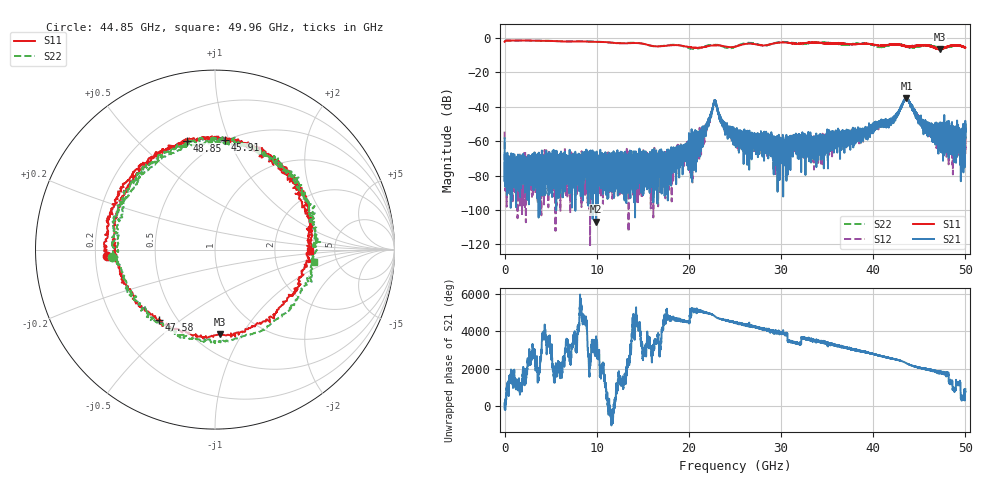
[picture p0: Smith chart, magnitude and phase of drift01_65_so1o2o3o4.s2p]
!Created with skrf (http://scikit-rf.org).
# Hz S RI R 50.0
!freq ReS11 ImS11 ReS21 ImS21 ReS12 ImS12 ReS22 ImS22
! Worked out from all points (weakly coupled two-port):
!   10001 points, 300 kHz to 50 GHz, reference 50 ohm
!   highest |S21| = -34.80 dB at 43.61 GHz (marker M1); lowest = -106.8 dB at 9.92 GHz (marker M2)
!   lowest |S11| = -6.5 dB at 47.28 GHz (marker M3), VSWR 2.79, Z = 33.4 - j40.4 ohm
!   |S11| at or under -10 dB: nowhere
!   |S22| runs from -6.4 to -1.4 dB; largest |S21 - S12| = 0.0045
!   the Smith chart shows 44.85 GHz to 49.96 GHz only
!   S11 on the Smith chart (normalised r, x): 44.85 GHz: 0.25, -0.03; 45.91 GHz: 0.50, +0.97; 47.58 GHz: 0.40, -0.42; 48.85 GHz: 0.36, +0.71; 49.96 GHz: 3.27, -0.07
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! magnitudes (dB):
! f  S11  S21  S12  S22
! 300 kHz  -2.1  -58.3  -54.4  -2.1
! 290.3 MHz  -1.4  -71.6  -80.5  -1.4
! 8.335 GHz  -1.9  -77.9  -72.0  -1.8
! 9.92 GHz  -2.1  -106.8  -75.6  -2.0
! 16.67 GHz  -4.8  -81.0  -83.9  -4.8
! 17.47 GHz  -4.5  -73.4  -68.4  -4.3
! 20.76 GHz  -5.6  -59.7  -59.2  -6.2
! 21.68 GHz  -5.1  -52.0  -60.8  -5.0
! 22.8 GHz  -4.3  -36.5  -36.3  -4.1
! 23.69 GHz  -4.6  -50.4  -50.8  -4.8
! 25 GHz  -5.0  -59.3  -55.6  -5.0
! 29.39 GHz  -2.9  -62.8  -75.7  -2.8
! 33.34 GHz  -2.6  -59.4  -60.4  -2.6
! 41.67 GHz  -3.9  -49.9  -49.8  -3.9
! 43.61 GHz  -4.4  -34.8  -35.1  -4.7
! 44.85 GHz  -4.4  -45.7  -45.7  -4.8
! 45.91 GHz  -4.3  -54.7  -51.7  -4.3
! 47.28 GHz  -6.5  -58.7  -52.3  -5.8
! 47.58 GHz  -6.0  -53.1  -52.7  -6.0
! 48.85 GHz  -4.1  -61.7  -58.0  -4.5
! 49.96 GHz  -5.5  -55.2  -68.9  -5.1
! 50 GHz  -5.5  -52.9  -55.2  -5.2
